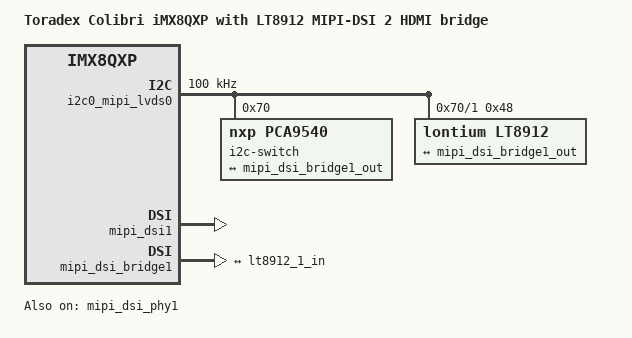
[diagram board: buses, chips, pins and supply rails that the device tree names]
// SPDX-License-Identifier: GPL-2.0+ OR X11
/*
 * Copyright 2018-2019 Toradex
 */

/dts-v1/;
//#define IS_A0_SILICON
//#define DSI_TO_HDMI_V10

#include "fsl-imx8qxp-colibri-eval-v3.dtsi"

/ {
	model = "Toradex Colibri iMX8QXP with LT8912 MIPI-DSI 2 HDMI bridge";
	compatible = "toradex,colibri-imx8qxp-dsihdmi-eval-v3", "toradex,colibri-imx8qxp", "fsl,imx8qxp";

};

/* DSI/LVDS port 0 */
&i2c0_mipi_lvds0 {
	#address-cells = <1>;
	#size-cells = <0>;
	pinctrl-names = "default";
	pinctrl-0 = <&pinctrl_i2c0_mipi_lvds0>;
	clock-frequency = <100000>;
	status = "okay";

#ifndef DSI_TO_HDMI_V10
	/* DSI to HDMI Adapter V1.1A */
	i2c-switch@70 {
		compatible = "nxp,pca9540";
		#address-cells = <1>;
		#size-cells = <0>;
		reg = <0x70>;
		i2c-mux-idle-disconnect;

		i2c@0 {
			#address-cells = <1>;
			#size-cells = <0>;
			reg = <0>;

			/* DDC/EDID */
		};

		i2c@1 {
			#address-cells = <1>;
			#size-cells = <0>;
			reg = <1>;

			lt8912@48 {
				compatible = "lontium,lt8912";
				reg = <0x48>;

				port {
					lt8912_1_in: endpoint {
						remote-endpoint = <&mipi_dsi_bridge1_out>;
					};
				};

				display-timings {
					native-mode = <&timing1>;

					timing0: timing0 {
						clock-frequency = <74250000>;
						hactive = <1280>;
						vactive = <720>;
						hfront-porch = <110>;
						hsync-len = <40>;
						hback-porch = <220>;
						vfront-porch = <5>;
						vsync-len = <5>;
						vback-porch = <20>;
						hsync-active = <0>;
						vsync-active = <0>;
						de-active = <0>;
						pixelclk-active = <0>;
					};

					timing1: timing1 {
						clock-frequency = <148500000>;
						hactive = <1920>;
						vactive = <1080>;
						hfront-porch = <88>;
						hsync-len = <44>;
						hback-porch = <148>;
						vfront-porch = <36>;
						vsync-len = <5>;
						vback-porch = <4>;
						hsync-active = <0>;
						vsync-active = <0>;
						de-active = <0>;
						pixelclk-active = <0>;
					};
				};
			};
		};
	};
#else /* DSI_TO_HDMI_V10 */
	/* DSI to HDMI Adapter V1.0A */
	lt8912@48 {
		compatible = "lontium,lt8912";
		reg = <0x48>;

		port {
			lt8912_1_in: endpoint {
				remote-endpoint = <&mipi_dsi_bridge1_out>;
			};
		};

		display-timings {
			native-mode = <&timing1>;

			timing0: timing0 {
				clock-frequency = <74250000>;
				hactive = <1280>;
				vactive = <720>;
				hfront-porch = <110>;
				hsync-len = <40>;
				hback-porch = <220>;
				vfront-porch = <5>;
				vsync-len = <5>;
				vback-porch = <20>;
				hsync-active = <0>;
				vsync-active = <0>;
				de-active = <0>;
				pixelclk-active = <0>;
			};

			timing1: timing1 {
				clock-frequency = <148500000>;
				hactive = <1920>;
				vactive = <1080>;
				hfront-porch = <88>;
				hsync-len = <44>;
				hback-porch = <148>;
				vfront-porch = <36>;
				vsync-len = <5>;
				vback-porch = <4>;
				hsync-active = <0>;
				vsync-active = <0>;
				de-active = <0>;
				pixelclk-active = <0>;
			};
		};
	};
#endif /* DSI_TO_HDMI_V10 */
};

&ldb1_phy {
	status = "disabled";
};

&ldb1 {
	status = "disabled";

	lvds-channel@0 {
		fsl,data-mapping = "jeida";
		fsl,data-width = <24>;
		status = "disabled";
	};
};

&mipi_dsi_phy1 {
	status = "okay";
};

&mipi_dsi1 {
	pwr-delay = <10>;
	status = "okay";
};

&mipi_dsi_bridge1 {
	status = "okay";

	port@1 {
		mipi_dsi_bridge1_out: endpoint {
			remote-endpoint = <&lt8912_1_in>;
		};
	};
};

/* DSI/LVDS port 1 */
&i2c0_mipi_lvds1 {
	#address-cells = <1>;
	#size-cells = <0>;
	pinctrl-names = "default";
	pinctrl-0 = <&pinctrl_i2c0_mipi_csi>;
	clock-frequency = <100000>;
	status = "disabled";
};

&ldb2_phy {
	status = "disabled";
};

&ldb2 {
	status = "disabled";
};

&mipi_dsi_phy2 {
	status = "disabled";
};

&mipi_dsi2 {
	pwr-delay = <10>;
	status = "disabled ";
};

&mipi_dsi_bridge2 {
	status = "disabled";
};
